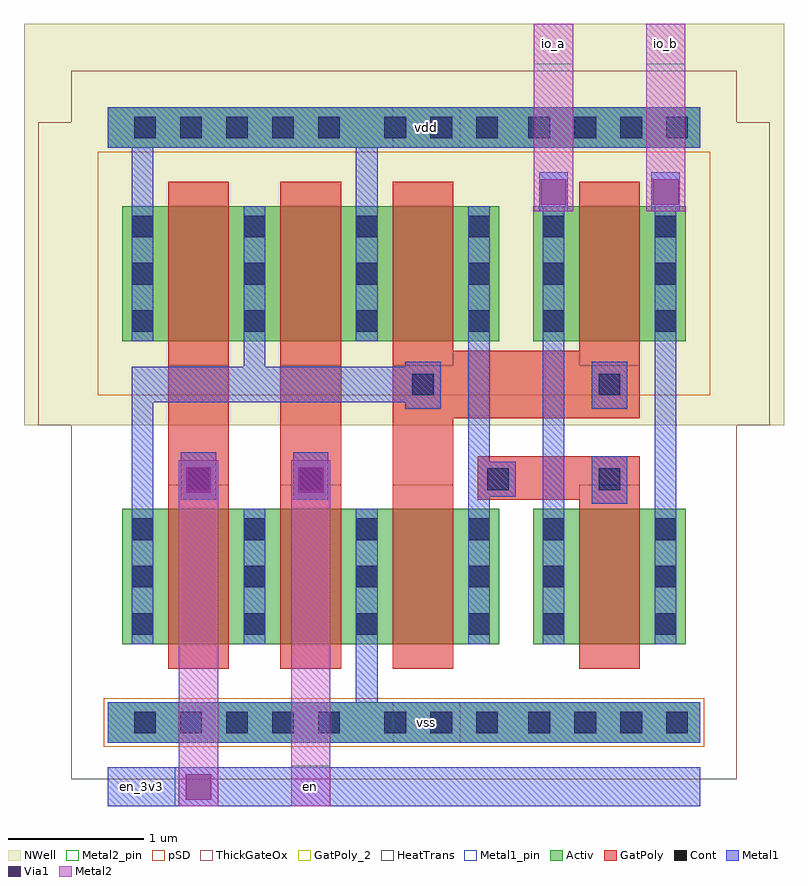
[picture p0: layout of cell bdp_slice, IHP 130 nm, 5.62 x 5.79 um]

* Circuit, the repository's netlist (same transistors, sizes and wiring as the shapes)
* SPDX-FileCopyrightText: 2026 Christoph Maier
* SPDX-License-Identifier: Apache-2.0
* bdp_slice (Claude, agent D, C4 2026-11-07). hv devices 1u/0.45u; every device as drawn.

.SUBCKT bdp_slice en en_3v3 io_a io_b vdd vss
MPA e_b en_3v3 vdd vdd sg13_hv_pmos w=1u l=0.45u ng=1 m=1
MPB e_b en vdd vdd sg13_hv_pmos w=1u l=0.45u ng=1 m=1
MNA e_b en_3v3 n1 vss sg13_hv_nmos w=1u l=0.45u ng=1 m=1
MNB n1 en vss vss sg13_hv_nmos w=1u l=0.45u ng=1 m=1
MP e e_b vdd vdd sg13_hv_pmos w=1u l=0.45u ng=1 m=1
MN e e_b vss vss sg13_hv_nmos w=1u l=0.45u ng=1 m=1
MTGP io_a e_b io_b vdd sg13_hv_pmos w=1u l=0.45u ng=1 m=1
MTGN io_a e io_b vss sg13_hv_nmos w=1u l=0.45u ng=1 m=1
.ENDS bdp_slice

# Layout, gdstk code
import gdstk
lib = gdstk.Library(unit=1e-6, precision=1e-09)
def R(c, l, rs):  # rectangles x0, y0, x1, y1
    for r in rs: c.add(gdstk.rectangle(r[:2], r[2:], *l))
def A(c, l, x, y, w, h, nx, ny, dx, dy):  # array of equal rectangles
    R(c, l, [(x+i*dx, y+j*dy, x+i*dx+w, y+j*dy+h) for i in range(nx) for j in range(ny)])
Activ = (1, 0)
GatPoly = (5, 0)
GatPoly_2 = (5, 2)
Cont = (6, 0)
Metal1 = (8, 0)
Metal1_pin = (8, 2)
Metal2 = (10, 0)
Metal2_pin = (10, 2)
pSD = (14, 0)
Via1 = (19, 0)
NWell = (31, 0)
ThickGateOx = (44, 0)
HeatTrans = (51, 0)

pmoshv_w2_l0p45_ng2 = lib.new_cell('pmosHV_w2_l0p45_ng2')
A(pmoshv_w2_l0p45_ng2, Activ, 0, 0, 0.3, 0.3, 3, 1, 0.83, 0)
R(pmoshv_w2_l0p45_ng2, Activ, [(0,0,1.96,1)])
R(pmoshv_w2_l0p45_ng2, GatPoly, [(0.34,-0.18,0.79,1.18), (1.17,-0.18,1.62,1.18)])
R(pmoshv_w2_l0p45_ng2, GatPoly_2, [(0.34,-0.18,0.79,1.18)])
A(pmoshv_w2_l0p45_ng2, Cont, 0.07, 0.07, 0.16, 0.16, 3, 3, 0.83, 0.35)
A(pmoshv_w2_l0p45_ng2, Metal1, 0.07, 0, 0.16, 1, 3, 1, 0.83, 0)
R(pmoshv_w2_l0p45_ng2, Metal1_pin, [(0.07,0,0.23,1), (0.9,0,1.06,1)])
R(pmoshv_w2_l0p45_ng2, pSD, [(-0.18,-0.4,2.14,1.4)])
R(pmoshv_w2_l0p45_ng2, NWell, [(-0.62,-0.62,2.58,1.62)])
R(pmoshv_w2_l0p45_ng2, ThickGateOx, [(-0.62,-0.62,2.58,1.62)])
R(pmoshv_w2_l0p45_ng2, HeatTrans, [(0.34,-0.18,0.79,1.18), (1.17,-0.18,1.62,1.18)])
pmoshv_w2_l0p45_ng2.add(gdstk.Label('pmosHV', (0.565,0.5), layer=63, texttype=0))
pmoshv_w2_l0p45_ng2.add(gdstk.Label('pmos', (0.565,0.5), layer=51, texttype=0))
pmoshv_w2_l0p45_ng2.add(gdstk.Label('pmos', (1.395,0.5), layer=51, texttype=0))

nmoshv_w2_l0p45_ng2 = lib.new_cell('nmosHV_w2_l0p45_ng2')
A(nmoshv_w2_l0p45_ng2, Activ, 0, 0, 0.3, 0.3, 3, 1, 0.83, 0)
R(nmoshv_w2_l0p45_ng2, Activ, [(0,0,1.96,1)])
R(nmoshv_w2_l0p45_ng2, GatPoly, [(0.34,-0.18,0.79,1.18), (1.17,-0.18,1.62,1.18)])
R(nmoshv_w2_l0p45_ng2, GatPoly_2, [(0.34,-0.18,0.79,1.18)])
A(nmoshv_w2_l0p45_ng2, Cont, 0.07, 0.07, 0.16, 0.16, 3, 3, 0.83, 0.35)
A(nmoshv_w2_l0p45_ng2, Metal1, 0.07, 0, 0.16, 1, 3, 1, 0.83, 0)
R(nmoshv_w2_l0p45_ng2, Metal1_pin, [(0.07,0,0.23,1), (0.9,0,1.06,1)])
R(nmoshv_w2_l0p45_ng2, ThickGateOx, [(-0.27,-0.52,2.23,1.52)])
R(nmoshv_w2_l0p45_ng2, HeatTrans, [(0.34,-0.18,0.79,1.18), (1.17,-0.18,1.62,1.18)])
nmoshv_w2_l0p45_ng2.add(gdstk.Label('nmosHV', (0.565,0.5), layer=63, texttype=0))
nmoshv_w2_l0p45_ng2.add(gdstk.Label('nmosHV', (0.565,0.5), layer=51, texttype=0))
nmoshv_w2_l0p45_ng2.add(gdstk.Label('nmosHV', (1.395,0.5), layer=51, texttype=0))

nand2_hv = lib.new_cell('nand2_hv')
R(nand2_hv, Activ, [(-0.105,0,1.96,0.3), (-0.105,4.4,1.96,4.7)])
R(nand2_hv, GatPoly, [(0.34,1.91,0.79,2.79), (1.17,1.91,1.62,2.79)])
A(nand2_hv, Cont, 0.09, 0.07, 0.16, 0.16, 5, 2, 0.34, 4.4)
R(nand2_hv, Cont, [(0.485,1.87,0.645,2.03), (1.315,1.87,1.475,2.03)])
R(nand2_hv, Metal1, [(-0.105,0,1.96,0.3), (1.73,0.3,1.89,0.73), (0.07,1.73,0.23,2.78), (0.435,1.8,0.695,2.15), (1.265,1.8,1.525,2.15), (0.07,2.52,1.06,2.78), (0.9,2.52,1.06,2.97), (0.07,3.97,0.23,4.4), (1.73,3.97,1.89,4.4), (-0.105,4.4,1.96,4.7)])
R(nand2_hv, pSD, [(-0.135,-0.03,1.99,0.33)])
R(nand2_hv, NWell, [(-0.725,2.35,2.58,5.32)])
R(nand2_hv, ThickGateOx, [(-0.375,-0.27,2.23,4.97)])
nand2_hv.add(gdstk.Reference(pmoshv_w2_l0p45_ng2, (0,2.97)))
nand2_hv.add(gdstk.Reference(nmoshv_w2_l0p45_ng2, (0,0.73)))
nand2_hv.add(gdstk.Label('PA PB', (0.98,3.47), layer=63, texttype=0))
nand2_hv.add(gdstk.Label('NA NB', (0.98,1.23), layer=63, texttype=0))

pmoshv_w1_l0p45 = lib.new_cell('pmosHV_w1_l0p45')
R(pmoshv_w1_l0p45, Activ, [(0,0,0.3,0.3), (0,0,1.13,1), (0.83,0,1.13,0.3)])
R(pmoshv_w1_l0p45, GatPoly, [(0.34,-0.18,0.79,1.18)])
R(pmoshv_w1_l0p45, GatPoly_2, [(0.34,-0.18,0.79,1.18)])
A(pmoshv_w1_l0p45, Cont, 0.07, 0.07, 0.16, 0.16, 1, 3, 0, 0.35)
A(pmoshv_w1_l0p45, Cont, 0.9, 0.07, 0.16, 0.16, 1, 3, 0, 0.35)
R(pmoshv_w1_l0p45, Metal1, [(0.07,0,0.23,1), (0.9,0,1.06,1)])
R(pmoshv_w1_l0p45, Metal1_pin, [(0.07,0,0.23,1), (0.9,0,1.06,1)])
R(pmoshv_w1_l0p45, pSD, [(-0.18,-0.4,1.31,1.4)])
R(pmoshv_w1_l0p45, NWell, [(-0.62,-0.62,1.75,1.62)])
R(pmoshv_w1_l0p45, ThickGateOx, [(-0.62,-0.62,1.75,1.62)])
R(pmoshv_w1_l0p45, HeatTrans, [(0.34,-0.18,0.79,1.18)])
pmoshv_w1_l0p45.add(gdstk.Label('pmosHV', (0.565,0.5), layer=63, texttype=0))
pmoshv_w1_l0p45.add(gdstk.Label('pmos', (0.565,0.5), layer=51, texttype=0))

nmoshv_w1_l0p45 = lib.new_cell('nmosHV_w1_l0p45')
R(nmoshv_w1_l0p45, Activ, [(0,0,0.3,0.3), (0,0,1.13,1), (0.83,0,1.13,0.3)])
R(nmoshv_w1_l0p45, GatPoly, [(0.34,-0.18,0.79,1.18)])
R(nmoshv_w1_l0p45, GatPoly_2, [(0.34,-0.18,0.79,1.18)])
A(nmoshv_w1_l0p45, Cont, 0.07, 0.07, 0.16, 0.16, 1, 3, 0, 0.35)
A(nmoshv_w1_l0p45, Cont, 0.9, 0.07, 0.16, 0.16, 1, 3, 0, 0.35)
R(nmoshv_w1_l0p45, Metal1, [(0.07,0,0.23,1), (0.9,0,1.06,1)])
R(nmoshv_w1_l0p45, Metal1_pin, [(0.07,0,0.23,1), (0.9,0,1.06,1)])
R(nmoshv_w1_l0p45, ThickGateOx, [(-0.27,-0.52,1.4,1.52)])
R(nmoshv_w1_l0p45, HeatTrans, [(0.34,-0.18,0.79,1.18)])
nmoshv_w1_l0p45.add(gdstk.Label('nmosHV', (0.565,0.5), layer=63, texttype=0))
nmoshv_w1_l0p45.add(gdstk.Label('nmosHV', (0.565,0.5), layer=51, texttype=0))

inv_hv = lib.new_cell('inv_hv')
R(inv_hv, Activ, [(0,0,1.255,0.3), (0,4.4,1.255,4.7)])
R(inv_hv, GatPoly, [(0.34,1.91,0.79,2.79)])
A(inv_hv, Cont, 0.28, 0.07, 0.16, 0.16, 3, 2, 0.34, 4.4)
R(inv_hv, Cont, [(0.485,2.57,0.645,2.73)])
R(inv_hv, Metal1, [(0,0,1.255,0.3), (0.07,0.3,0.23,0.73), (0.9,1.73,1.06,2.97), (0.435,2.47,0.695,2.82), (0.07,3.97,0.23,4.4), (0,4.4,1.255,4.7)])
R(inv_hv, pSD, [(-0.03,-0.03,1.285,0.33)])
R(inv_hv, NWell, [(-0.62,2.35,1.875,5.32)])
R(inv_hv, ThickGateOx, [(-0.27,-0.27,1.525,4.97)])
inv_hv.add(gdstk.Reference(pmoshv_w1_l0p45, (0,2.97)))
inv_hv.add(gdstk.Reference(nmoshv_w1_l0p45, (0,0.73)))
inv_hv.add(gdstk.Label('P', (0.565,3.47), layer=63, texttype=0))
inv_hv.add(gdstk.Label('N', (0.565,1.23), layer=63, texttype=0))

tg_hv = lib.new_cell('tg_hv')
R(tg_hv, Activ, [(-0.125,0,1.235,0.3), (-0.125,4.4,1.235,4.7)])
R(tg_hv, GatPoly, [(0.34,1.91,0.79,2.12), (0.34,2.45,0.79,2.79)])
A(tg_hv, Cont, -0.035, 0.07, 0.16, 0.16, 4, 2, 0.34, 4.4)
R(tg_hv, Cont, [(0.485,1.87,0.645,2.03), (0.485,2.57,0.645,2.73)])
R(tg_hv, Metal1, [(-0.125,0,1.235,0.3), (0.07,1.73,0.23,2.97), (0.9,1.73,1.06,2.97), (0.435,1.77,0.695,2.12), (0.435,2.47,0.695,2.82), (-0.125,4.4,1.235,4.7)])
R(tg_hv, pSD, [(-0.155,-0.03,1.265,0.33)])
R(tg_hv, NWell, [(-0.745,2.35,1.855,5.32)])
R(tg_hv, ThickGateOx, [(-0.395,-0.27,1.505,4.97)])
tg_hv.add(gdstk.Reference(pmoshv_w1_l0p45, (0,2.97)))
tg_hv.add(gdstk.Reference(nmoshv_w1_l0p45, (0,0.73)))
tg_hv.add(gdstk.Label('TGP', (0.565,3.47), layer=63, texttype=0))
tg_hv.add(gdstk.Label('TGN', (0.565,1.23), layer=63, texttype=0))

bdp_slice = lib.new_cell('bdp_slice')
R(bdp_slice, GatPoly, [(2.63,1.8,3.83,2.12), (2,2.4,3.83,2.9)])
R(bdp_slice, Cont, [(2.7,1.87,2.86,2.03)])
R(bdp_slice, Metal1, [(-0.105,-0.47,4.275,-0.18), (2.56,1.82,2.91,2.08), (1.06,2.52,2.095,2.78), (3.085,3.93,3.295,4.22), (3.915,3.93,4.125,4.22)])
R(bdp_slice, Metal1_pin, [(-0.105,-0.47,0.395,-0.18), (2,0,2.5,0.3), (2,4.4,2.5,4.7)])
R(bdp_slice, Metal2, [(0.42,-0.47,0.71,2.09), (1.25,-0.47,1.54,2.09), (3.045,3.93,3.335,5.32), (3.875,3.93,4.165,5.32)])
R(bdp_slice, Metal2_pin, [(1.25,-0.47,1.54,-0.17), (3.045,5.02,3.335,5.32), (3.875,5.02,4.165,5.32)])
R(bdp_slice, Via1, [(0.47,-0.42,0.66,-0.23), (0.47,1.85,0.66,2.04), (1.3,1.85,1.49,2.04), (3.095,3.98,3.285,4.17), (3.925,3.98,4.115,4.17)])
bdp_slice.add(gdstk.Reference(nand2_hv, (0,0)))
bdp_slice.add(gdstk.Reference(inv_hv, (1.66,0)))
bdp_slice.add(gdstk.Reference(tg_hv, (3.04,0)))
bdp_slice.add(gdstk.Label('en_3v3', (0.145,-0.325), layer=8, texttype=25))
bdp_slice.add(gdstk.Label('vdd', (2.25,4.55), layer=8, texttype=25))
bdp_slice.add(gdstk.Label('vss', (2.25,0.15), layer=8, texttype=25))
bdp_slice.add(gdstk.Label('en', (1.395,-0.32), layer=10, texttype=25))
bdp_slice.add(gdstk.Label('io_a', (3.19,5.17), layer=10, texttype=25))
bdp_slice.add(gdstk.Label('io_b', (4.02,5.17), layer=10, texttype=25))

lib.write_gds('bdp_slice.gds')
